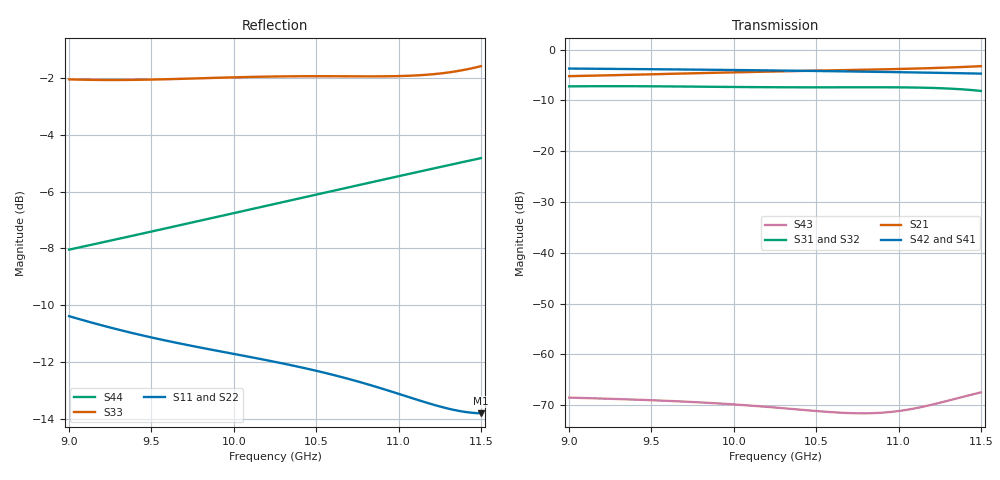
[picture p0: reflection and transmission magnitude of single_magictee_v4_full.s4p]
! Generated from PyAEDT SolutionData; AEDT ExportNetworkData workaround
# GHz S MA R 50
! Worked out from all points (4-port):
!   101 points, 9 GHz to 11.5 GHz, reference 50 ohm
!   strongest paths, dB at 9 GHz, 9.625 GHz, 10.25 GHz, 10.88 GHz, 11.5 GHz:
!     S42: -3.8, -3.9, -4.1, -4.4, -4.7
!     S41: -3.8, -3.9, -4.1, -4.4, -4.7
!     S21: -5.2, -4.8, -4.3, -3.9, -3.3
!     S31: -7.3, -7.3, -7.4, -7.4, -8.1
!     S32: -7.3, -7.3, -7.4, -7.4, -8.2
!     S43: -68.5, -69.2, -70.5, -71.5, -67.5
!   lowest |S11| = -13.8 dB at 11.5 GHz (marker M1), VSWR 1.51, Z = 37.2 - j12.5 ohm
!   |S11| at or under -10 dB: start of sweep to end of sweep
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9  0.3023 138.1  0.5467 -176.8  0.4338 -80.3  0.6492 43.6
   0.5467 -176.8  0.3019 138.1  0.4339 -80.3  0.6494 -136.4
   0.4338 -80.3  0.4339 -80.3  0.7897 -148.1  0.0003751 -49.9
   0.6492 43.6  0.6494 -136.4  0.0003751 -49.9  0.396 -128.6
9.525  0.2763 79.3  0.5716 125.0  0.4341 -169.0  0.6391 -15.9
       0.5716 125.0  0.2759 79.1  0.4342 -169.0  0.6392 164.1
       0.4341 -169.0  0.4342 -169.0  0.7893 91.6  0.0003522 -145.2
       0.6391 -15.9  0.6392 164.1  0.0003522 -145.2  0.4277 175.6
9.925  0.2619 35.4  0.5922 81.9  0.4288 125.3  0.6299 -59.6
       0.5922 81.9  0.2615 35.3  0.4288 125.3  0.6301 120.4
       0.4288 125.3  0.4288 125.3  0.7951 2.6  0.0003273 139.9
       0.6299 -59.6  0.6301 120.4  0.0003273 139.9  0.454 134.2
10.3  0.2495 -5.4  0.6103 42.4  0.425 64.5  0.6201 -99.5
      0.6103 42.4  0.2492 -5.7  0.4249 64.5  0.6203 80.4
      0.425 64.5  0.4249 64.5  0.7992 -79.9  0.0002949 64.2
      0.6201 -99.5  0.6203 80.4  0.0002949 64.2  0.4802 95.9
10.775  0.231 -56.6  0.6317 -6.5  0.4249 -13.5  0.6058 -149.2
        0.6317 -6.5  0.2311 -56.9  0.4248 -13.5  0.6059 30.8
        0.4249 -13.5  0.4248 -13.5  0.7994 172.3  0.0002628 -48.2
        0.6058 -149.2  0.6059 30.8  0.0002628 -48.2  0.5156 48.0
11.15  0.2138 -95.1  0.6526 -43.9  0.4208 -78.5  0.5927 172.2
       0.6526 -43.9  0.2141 -95.3  0.4205 -78.5  0.5928 -7.9
       0.4208 -78.5  0.4205 -78.5  0.8038 78.8  0.0003056 -150.7
       0.5927 172.2  0.5928 -7.9  0.0003056 -150.7  0.5452 10.4
11.5  0.2039 -127.5  0.6855 -78.3  0.3913 -143.9  0.5791 136.5
      0.6855 -78.3  0.2044 -127.7  0.391 -143.9  0.5792 -43.6
      0.3913 -143.9  0.391 -143.9  0.8331 -18.8  0.000422 118.1
      0.5791 136.5  0.5792 -43.6  0.000422 118.1  0.5738 -24.6
